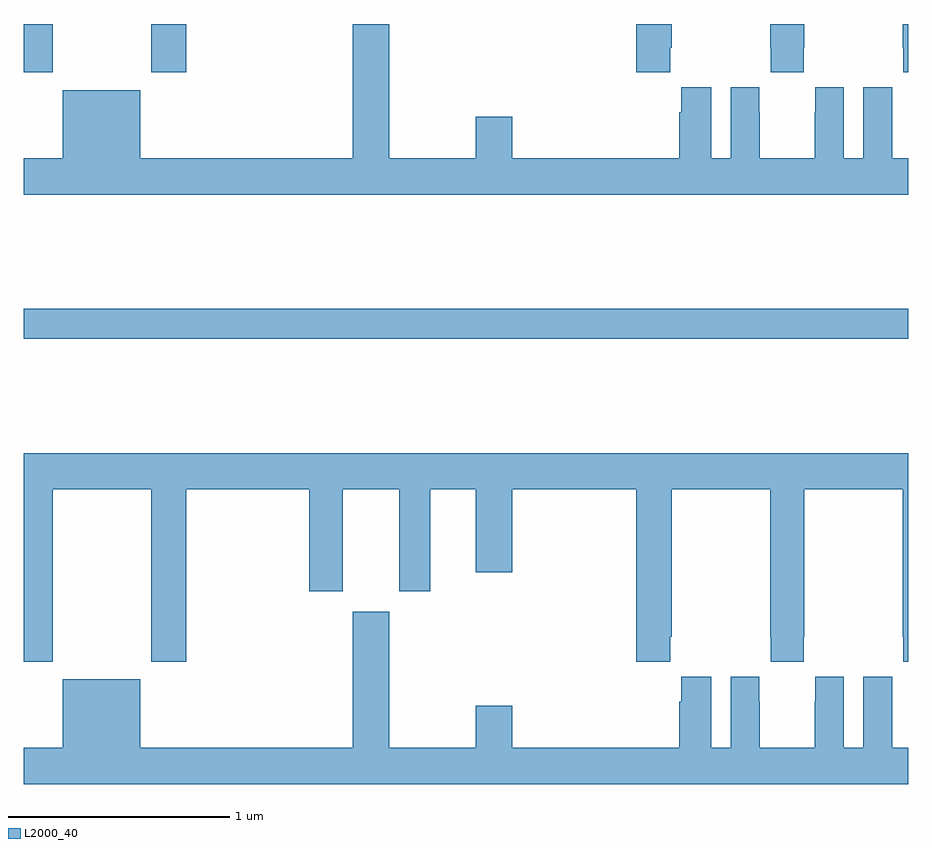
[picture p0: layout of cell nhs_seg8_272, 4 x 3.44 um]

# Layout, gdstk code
import gdstk
lib = gdstk.Library(unit=1e-6, precision=1e-09)
def R(c, l, rs):  # rectangles x0, y0, x1, y1
    for r in rs: c.add(gdstk.rectangle(r[:2], r[2:], *l))
def P(c, l, *ps):  # polygons
    for p in ps: c.add(gdstk.Polygon(p, *l))
L2000_40 = (2000, 40)

nhs_seg8_272 = lib.new_cell('nhs_seg8_272')
R(nhs_seg8_272, L2000_40, [(127,1154.476,131,1154.612), (127,1155.681,127.131,1155.9), (127.576,1155.681,127.736,1155.9)])
P(nhs_seg8_272, L2000_40, [(131,1155.292),(130.927,1155.292),(130.927,1155.5),(130.926,1155.5),(130.926,1155.613),(130.796,1155.613),(130.796,1155.292),(130.708,1155.292),(130.708,1155.613),(130.578,1155.613),(130.578,1155.5),(130.577,1155.5),(130.577,1155.292),(130.327,1155.292),(130.327,1155.5),(130.326,1155.5),(130.326,1155.613),(130.196,1155.613),(130.196,1155.292),(130.108,1155.292),(130.108,1155.613),(129.974,1155.613),(129.974,1155.5),(129.965,1155.5),(129.965,1155.292),(129.208,1155.292),(129.208,1155.481),(129.044,1155.481),(129.044,1155.292),(128.653,1155.292),(128.653,1155.9),(128.489,1155.9),(128.489,1155.292),(127.528,1155.292),(127.528,1155.601),(127.178,1155.601),(127.178,1155.292),(127,1155.292),(127,1155.128),(131,1155.128)],
  [(129.923,1155.793),(129.93,1155.793),(129.93,1155.9),(129.77,1155.9),(129.77,1155.681),(129.923,1155.681)],
  [(130.527,1155.793),(130.53,1155.793),(130.53,1155.9),(130.375,1155.9),(130.375,1155.793),(130.377,1155.793),(130.377,1155.681),(130.527,1155.681)],
  [(131,1155.9),(130.975,1155.9),(130.975,1155.793),(130.977,1155.793),(130.977,1155.681),(131,1155.681)],
  [(127.131,1153.796),(127.576,1153.796),(127.576,1153.017),(127.736,1153.017),(127.736,1153.796),(128.291,1153.796),(128.291,1153.335),(128.443,1153.335),(128.443,1153.796),(128.699,1153.796),(128.699,1153.335),(128.839,1153.335),(128.839,1153.796),(129.044,1153.796),(129.044,1153.422),(129.208,1153.422),(129.208,1153.796),(129.77,1153.796),(129.77,1153.017),(129.923,1153.017),(129.923,1153.129),(129.93,1153.129),(129.93,1153.796),(130.375,1153.796),(130.375,1153.129),(130.377,1153.129),(130.377,1153.017),(130.527,1153.017),(130.527,1153.129),(130.53,1153.129),(130.53,1153.796),(130.975,1153.796),(130.975,1153.129),(130.977,1153.129),(130.977,1153.017),(131,1153.017),(131,1153.96),(127,1153.96),(127,1153.017),(127.131,1153.017)],
  [(131,1152.628),(130.927,1152.628),(130.927,1152.836),(130.926,1152.836),(130.926,1152.949),(130.796,1152.949),(130.796,1152.628),(130.708,1152.628),(130.708,1152.949),(130.578,1152.949),(130.578,1152.836),(130.577,1152.836),(130.577,1152.628),(130.327,1152.628),(130.327,1152.836),(130.326,1152.836),(130.326,1152.949),(130.196,1152.949),(130.196,1152.628),(130.108,1152.628),(130.108,1152.949),(129.974,1152.949),(129.974,1152.836),(129.965,1152.836),(129.965,1152.628),(129.208,1152.628),(129.208,1152.817),(129.044,1152.817),(129.044,1152.628),(128.653,1152.628),(128.653,1153.243),(128.489,1153.243),(128.489,1152.628),(127.528,1152.628),(127.528,1152.937),(127.178,1152.937),(127.178,1152.628),(127,1152.628),(127,1152.464),(131,1152.464)])

lib.write_gds('nhs_seg8_272.gds')
